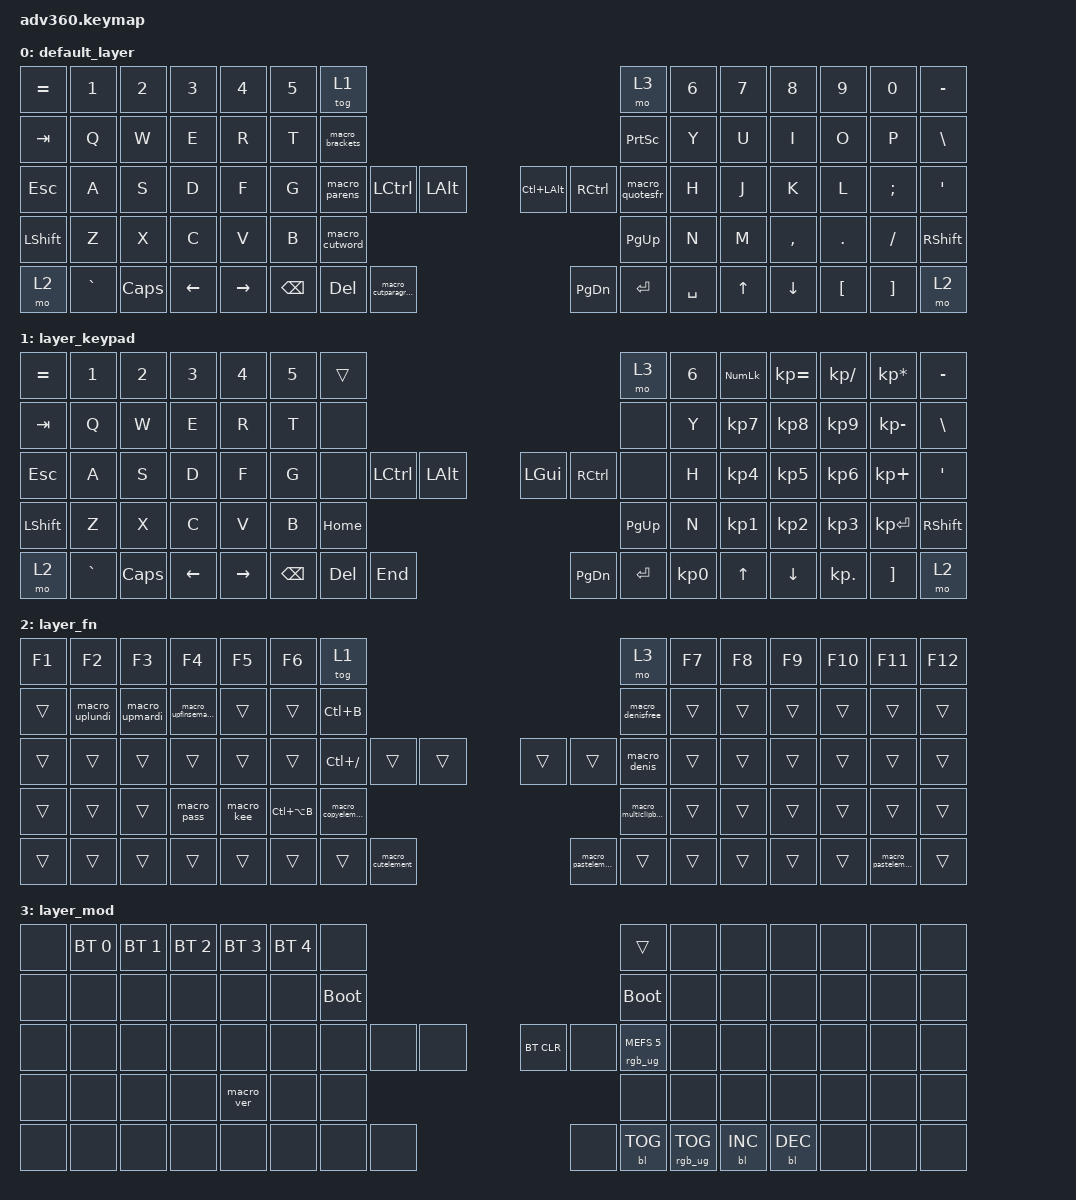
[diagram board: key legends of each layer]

/*
 * Copyright (c) 2020 The ZMK Contributors
 *
 * SPDX-License-Identifier: MIT
 */


/* THIS FILE WAS GENERATED!
 *
 * This file was generated automatically. You may or may not want to
 * edit it directly.
 */

#include <behaviors.dtsi>
#include <dt-bindings/zmk/keys.h>
#include <dt-bindings/zmk/bt.h>
#include <dt-bindings/zmk/rgb.h>
#include <dt-bindings/zmk/backlight.h>

/ {
  behaviors {
    #include "macros.dtsi"
    #include "version.dtsi"

    hm: homerow_mods {
        compatible = "zmk,behavior-hold-tap";
        label = "HOMEROW_MODS";
        #binding-cells = <2>;
        tapping-term-ms = <200>;
        quick_tap_ms = <175>;
        flavor = "tap-preferred";
        bindings = <&kp>, <&kp>;
    };
  };

    keymap {
        compatible = "zmk,keymap";


        default_layer {
            bindings = <
 &kp EQUAL     &kp N1    &kp N2    &kp N3     &kp N4  &kp N5                     &tog 1                                                                                     &mo 3  &kp N6  &kp N7     &kp N8    &kp N9    &kp N0  &kp MINUS
   &kp TAB      &kp Q     &kp W     &kp E      &kp R   &kp T            &macro_brackets                                                                           &kp PRINTSCREEN   &kp Y   &kp U      &kp I     &kp O     &kp P   &kp BSLH
   &kp ESC      &kp A     &kp S     &kp D      &kp F   &kp G              &macro_parens  &kp LCTRL             &kp LALT                  &kp LC(LALT)  &kp RCTRL  &macro_quotesfr   &kp H   &kp J      &kp K     &kp L  &kp SEMI    &kp SQT
 &kp LSHFT      &kp Z     &kp X     &kp C      &kp V   &kp B                                             &macro_cutword                     &kp PG_UP                               &kp N   &kp M  &kp COMMA   &kp DOT  &kp FSLH  &kp RSHFT
     &mo 2  &kp GRAVE  &kp CAPS  &kp LEFT  &kp RIGHT                           &kp BSPC    &kp DEL  &macro_cutparagraph                     &kp PG_DN  &kp ENTER        &kp SPACE          &kp UP   &kp DOWN  &kp LBKT  &kp RBKT      &mo 2
            >;
        };

        layer_keypad {
            bindings = <
 &kp EQUAL     &kp N1    &kp N2    &kp N3     &kp N4  &kp N5              &trans                                                                 &mo 3  &kp N6  &kp KP_NUM  &kp KP_EQUAL  &kp KP_DIVIDE  &kp KP_MULTIPLY  &kp MINUS
   &kp TAB      &kp Q     &kp W     &kp E      &kp R   &kp T               &none                                                                 &none   &kp Y   &kp KP_N7     &kp KP_N8      &kp KP_N9     &kp KP_MINUS   &kp BSLH
   &kp ESC      &kp A     &kp S     &kp D      &kp F   &kp G               &none  &kp LCTRL  &kp LALT                   &kp LGUI  &kp RCTRL      &none   &kp H   &kp KP_N4     &kp KP_N5      &kp KP_N6      &kp KP_PLUS    &kp SQT
 &kp LSHFT      &kp Z     &kp X     &kp C      &kp V   &kp B                                 &kp HOME                  &kp PG_UP                         &kp N   &kp KP_N1     &kp KP_N2      &kp KP_N3     &kp KP_ENTER  &kp RSHFT
     &mo 2  &kp GRAVE  &kp CAPS  &kp LEFT  &kp RIGHT                    &kp BSPC    &kp DEL   &kp END                  &kp PG_DN  &kp ENTER  &kp KP_N0              &kp UP      &kp DOWN     &kp KP_DOT         &kp RBKT      &mo 2
            >;
        };

        layer_fn {
            bindings = <
 &kp F1          &kp F2          &kp F3               &kp F4      &kp F5         &kp F6                  &tog 1                                                                                        &mo 3  &kp F7  &kp F8  &kp F9  &kp F10             &kp F11  &kp F12
 &trans  &macro_uplundi  &macro_upmardi  &macro_upfinsemaine      &trans         &trans               &kp LC(B)                                                                             &macro_denisfree  &trans  &trans  &trans   &trans              &trans   &trans
 &trans          &trans          &trans               &trans      &trans         &trans            &kp LC(FSLH)  &trans              &trans                                 &trans  &trans      &macro_denis  &trans  &trans  &trans   &trans              &trans   &trans
 &trans          &trans          &trans          &macro_pass  &macro_kee  &kp LC(LA(B))                                  &macro_copyelement                  &macro_multiclipboard                            &trans  &trans  &trans   &trans              &trans   &trans
 &trans          &trans          &trans               &trans      &trans                                 &trans  &trans   &macro_cutelement                     &macro_pastelement  &trans            &trans          &trans  &trans   &trans  &macro_pastelement   &trans
            >;
        };

        layer_mod {
            bindings = <
  &none  &bt BT_SEL 0  &bt BT_SEL 1  &bt BT_SEL 2  &bt BT_SEL 3  &bt BT_SEL 4                  &none                                                                          &trans   &none       &none       &none   &none   &none   &none
  &none         &none         &none         &none         &none         &none            &bootloader                                                                     &bootloader   &none       &none       &none   &none   &none   &none
  &none         &none         &none         &none         &none         &none                  &none   &none   &none                  &bt BT_CLR       &none  &rgb_ug RGB_MEFS_CMD 5   &none       &none       &none   &none   &none   &none
  &none         &none         &none         &none    &macro_ver         &none                                  &none                       &none                                       &none       &none       &none   &none   &none   &none
  &none         &none         &none         &none         &none                                &none   &none   &none                       &none  &bl BL_TOG         &rgb_ug RGB_TOG          &bl BL_INC  &bl BL_DEC   &none   &none   &none
            >;
        };

    };
};
